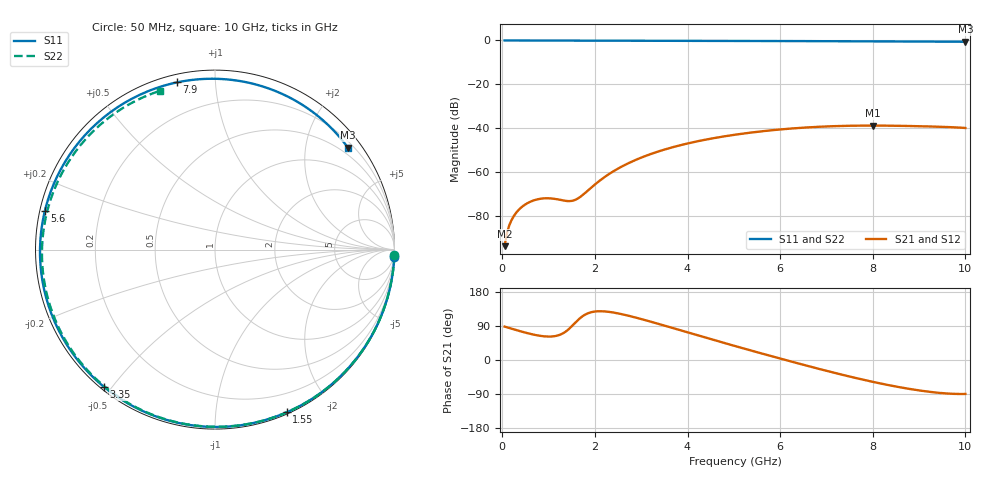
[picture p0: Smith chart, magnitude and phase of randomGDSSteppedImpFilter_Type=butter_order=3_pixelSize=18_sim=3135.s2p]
! freq	dB(S11)	phase(S11)	dB(S12)	phase(S12)
!  dB(S21)	phase(S21)	dB(S22)	phase(S22)
!S-par simulation data
#  GHz  S  DB  R 50
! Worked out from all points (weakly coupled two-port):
!   200 points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, 50 MHz to 10 GHz, reference 50 ohm
!   highest |S21| = -38.79 dB at 8 GHz (marker M1); lowest = -93.7 dB at 50 MHz (marker M2)
!   lowest |S11| = -0.6 dB at 10 GHz (marker M3), VSWR 28.93, Z = 16.6 + j146 ohm
!   |S11| at or under -10 dB: nowhere
!   |S22| runs from -0.6 to 0.0 dB; largest |S21 - S12| = 0
!   S11 on the Smith chart (normalised r, x): 50 MHz: 0, -51; 1.55 GHz: 0.02, -1.53; 3.35 GHz: 0.01, -0.48; 5.6 GHz: 0.01, +0.11; 7.9 GHz: 0.04, +0.80; 10 GHz: 0.33, +2.91
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0.05  -0.00 -2.3  -93.74 88.1  -93.74 88.1  -0.00 -1.6
0.25  -0.02 -11.2  -79.98 80.8  -79.98 80.8  -0.01 -7.8
0.45  -0.03 -20.0  -75.41 73.8  -75.41 73.8  -0.02 -14.0
0.75  -0.04 -33.1  -72.44 65.2  -72.44 65.2  -0.03 -23.3
1.15  -0.06 -50.0  -72.23 63.3  -72.23 63.3  -0.04 -35.5
1.55  -0.08 -66.2  -72.84 95.2  -72.84 95.2  -0.06 -47.4
1.75  -0.09 -74.0  -70.19 116.9  -70.19 116.9  -0.07 -53.2
2.1  -0.10 -87.1  -63.95 128.7  -63.95 128.7  -0.08 -63.2
2.45  -0.11 -99.5  -58.99 124.2  -58.99 124.2  -0.09 -72.9
2.85  -0.13 -113.0  -54.72 113.0  -54.72 113.0  -0.10 -83.7
3.35  -0.14 -129.0  -50.72 96.1  -50.72 96.1  -0.12 -96.6
3.4  -0.14 -130.5  -50.39 94.3  -50.39 94.3  -0.12 -97.9
4.2  -0.18 -154.1  -46.01 65.8  -46.01 65.8  -0.15 -117.5
5.05  -0.22 -177.8  -42.88 36.0  -42.88 36.0  -0.19 -137.2
5.6  -0.24 167.3  -41.41 17.2  -41.41 17.2  -0.22 -149.5
6.7  -0.31 137.2  -39.49 -19.0  -39.49 -19.0  -0.30 -173.6
7.35  -0.36 118.8  -38.94 -39.2  -38.94 -39.2  -0.35 172.0
7.9  -0.40 102.8  -38.79 -55.0  -38.79 -55.0  -0.39 159.7
8  -0.40 99.8  -38.79 -57.6  -38.79 -57.6  -0.40 157.5
8.35  -0.43 89.3  -38.84 -66.5  -38.84 -66.5  -0.43 149.4
9.15  -0.50 64.5  -39.15 -82.8  -39.15 -82.8  -0.50 130.4
10  -0.60 37.5  -39.89 -89.6  -39.89 -89.6  -0.57 109.1
